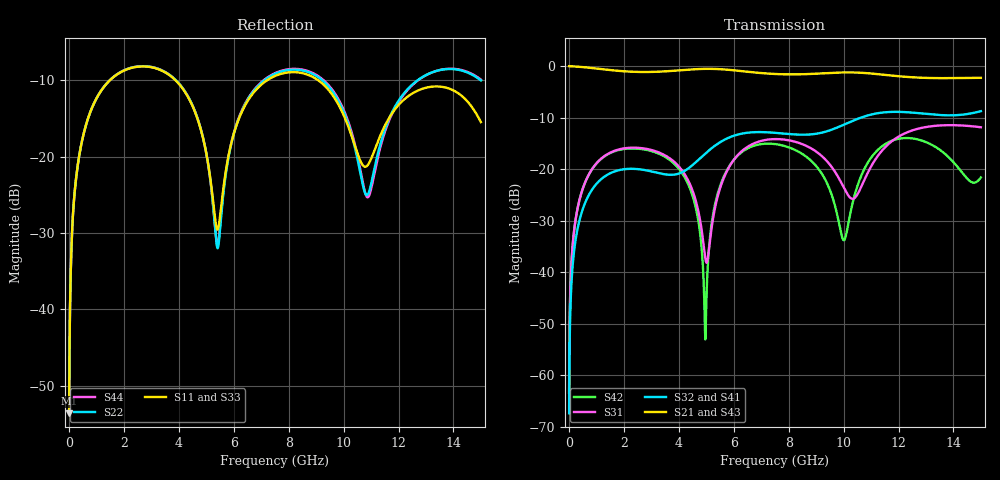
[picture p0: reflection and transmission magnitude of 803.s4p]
! Created with skrf 1.8.0 (http://scikit-rf.org).
# GHz S RI R 50.0
!freq ReS11 ImS11 ReS12 ImS12 ReS13 ImS13
! ReS14 ImS14
! ReS21 ImS21 ReS22 ImS22 ReS23 ImS23
! ReS24 ImS24
! ReS31 ImS31 ReS32 ImS32 ReS33 ImS33
! ReS34 ImS34
! ReS41 ImS41 ReS42 ImS42 ReS43 ImS43
! ReS44 ImS44
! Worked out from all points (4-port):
!   2499 points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, 5 MHz to 15 GHz, reference 50 ohm
!   strongest paths, dB at 5 MHz, 3.476 GHz, 7.19 GHz, 11.1 GHz, 15 GHz:
!     S21: 0.0, -1.0, -1.4, -1.5, -2.3
!     S43: 0.0, -1.0, -1.4, -1.5, -2.3
!     S32: -67.4, -21.0, -12.8, -9.3, -8.7
!     S41: -67.4, -21.0, -12.9, -9.3, -8.8
!     S31: -63.3, -17.3, -14.3, -18.6, -11.9
!     S42: -63.3, -17.5, -15.0, -17.1, -21.6
!   lowest |S11| = -53.6 dB at 5 MHz (marker M1), VSWR 1.00, Z = 50.2 + j0.126 ohm
!   |S11| at or under -10 dB: start of sweep to 1.482 GHz; 3.887 GHz to 7.202 GHz (3.315 GHz wide, 59.8 % of centre); 9.086 GHz to end of sweep
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0.005  0.00166 0.00126  0.9983 -0.00323  8.41e-05 0.000676  -8.15e-05 -0.000421
       0.9983 -0.00323  0.00166 0.00126  -8.15e-05 -0.000421  8.4e-05 0.000676
       8.41e-05 0.000676  -8.15e-05 -0.000421  0.00166 0.00126  0.9983 -0.00323
       -8.15e-05 -0.000421  8.4e-05 0.000676  0.9983 -0.00323  0.00166 0.00126
0.3126303  0.0245 0.0827  0.9665 -0.2008  0.0117 0.04  -0.00957 -0.0247
           0.9665 -0.2008  0.0246 0.0827  -0.00958 -0.0247  0.0114 0.0401
           0.0117 0.04  -0.00958 -0.0247  0.0245 0.0827  0.9665 -0.2008
           -0.00957 -0.0247  0.0114 0.0401  0.9665 -0.2008  0.0246 0.0827
1.569404  0.2759 0.1753  0.5339 -0.7381  0.1357 0.058  -0.093 -0.00355
          0.5339 -0.7381  0.2775 0.1743  -0.093 -0.0035  0.1312 0.0642
          0.1357 0.058  -0.093 -0.0035  0.2759 0.1753  0.5339 -0.7381
          -0.093 -0.00355  0.1312 0.0642  0.5339 -0.7381  0.2775 0.1742
4.964569  0.0576 -0.0979  -0.8854 -0.3168  -0.012 -0.00656  -0.0436 0.1349
          -0.8854 -0.3168  0.0503 -0.1024  -0.0431 0.1351  -0.00217 -0.000554
          -0.012 -0.00656  -0.0431 0.1351  0.0566 -0.0974  -0.8856 -0.3165
          -0.0436 0.1349  -0.00217 -0.000554  -0.8856 -0.3165  0.0508 -0.1015
8.397249  0.3547 -0.0307  0.00585 0.8323  0.1361 -0.1161  0.2059 -0.0624
          0.00585 0.8323  0.3678 -0.0435  0.2065 -0.0644  0.1344 -0.0568
          0.1361 -0.1161  0.2065 -0.0644  0.3585 -0.0275  0.00587 0.8306
          0.2059 -0.0624  0.1344 -0.0568  0.00587 0.8306  0.3721 -0.0469
11.13589  0.1018 0.0451  0.8406 -0.0223  0.0415 0.1145  -0.025 -0.3443
          0.8406 -0.0223  0.0698 0.0498  -0.0286 -0.3437  0.0332 0.1392
          0.0415 0.1145  -0.0286 -0.3437  0.1048 0.0386  0.8409 -0.0205
          -0.025 -0.3443  0.0332 0.1392  0.8409 -0.0205  0.0666 0.0442
15  0.16 -0.0537  -0.4223 -0.6429  -0.1292 -0.22  -0.3011 0.2057
    -0.4223 -0.6429  0.2672 -0.1693  -0.2994 0.2097  0.0537 0.0636
    -0.1292 -0.22  -0.2994 0.2097  0.1641 -0.0552  -0.4214 -0.6423
    -0.3011 0.2057  0.0537 0.0636  -0.4214 -0.6423  0.2709 -0.1715
